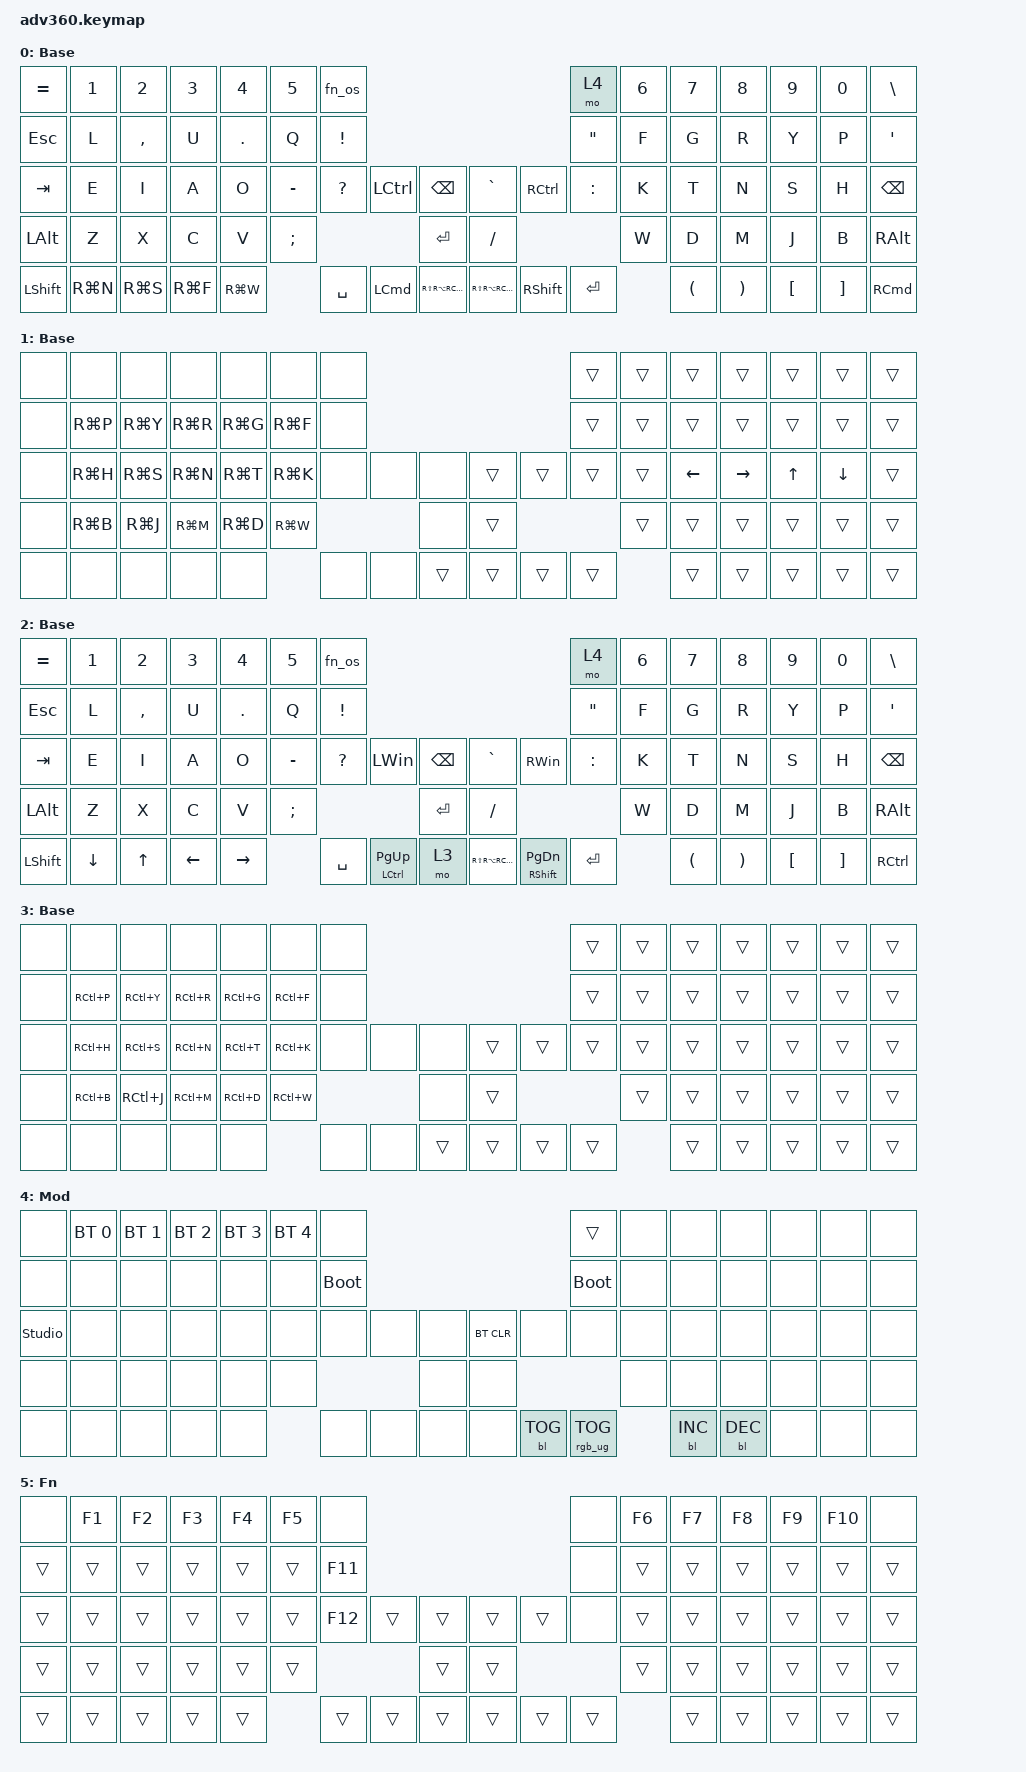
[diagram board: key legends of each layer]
#include <dt-bindings/zmk/stp.h>
#include <behaviors.dtsi>
#include <dt-bindings/zmk/backlight.h>
#include <dt-bindings/zmk/bt.h>
#include <dt-bindings/zmk/keys.h>
#include <dt-bindings/zmk/rgb.h>

/ {
    behaviors {
        #include "macros.dtsi"
      #include "version.dtsi"

        hm: homerow_mods {
            compatible = "zmk,behavior-hold-tap";
            label = "HOMEROW_MODS";
            #binding-cells = <2>;
            tapping-term-ms = <200>;
            quick_tap_ms = <175>;
            flavor = "tap-preferred";
            bindings = <&kp>, <&kp>;
        };

        t_left_mac_cmd: t_left_mac_cmd {
            compatible = "zmk,behavior-mod-morph";
            label = "T_LEFT_MAC_CMD";
            bindings = <&kp T>, <&kp LEFT_ARROW>;

            #binding-cells = <0>;
            mods = <(MOD_LGUI)>;
        };

        n_right_mac_cmd: n_right_mac_cmd {
            compatible = "zmk,behavior-mod-morph";
            label = "N_RIGHT_MAC_CMD";
            bindings = <&kp N>, <&kp RIGHT_ARROW>;

            #binding-cells = <0>;
            mods = <(MOD_LGUI)>;
        };

        s_up_mac_cmd: s_up_mac_cmd {
            compatible = "zmk,behavior-mod-morph";
            label = "S_UP_MAC_CMD";
            bindings = <&kp S>, <&kp UP_ARROW>;

            #binding-cells = <0>;
            mods = <(MOD_LGUI)>;
        };

        h_down_mac_cmd: h_down_mac_cmd {
            compatible = "zmk,behavior-mod-morph";
            label = "H_DOWN_MAC_CMD";
            bindings = <&kp H>, <&kp DOWN_ARROW>;

            #binding-cells = <0>;
            mods = <(MOD_LGUI)>;
        };

        t_left_win_ctl: t_left_win_ctl {
            compatible = "zmk,behavior-mod-morph";
            label = "T_LEFT_WIN_CTL";
            bindings = <&kp T>, <&kp LEFT_ARROW>;

            #binding-cells = <0>;
            mods = <(MOD_LCTL)>;
        };

        n_right_win_ctl: n_right_win_ctl {
            compatible = "zmk,behavior-mod-morph";
            label = "N_RIGHT_WIN_CTL";
            bindings = <&kp N>, <&kp RIGHT_ARROW>;

            #binding-cells = <0>;
            mods = <(MOD_LCTL)>;
        };

        s_up_win_ctl: s_up_win_ctl {
            compatible = "zmk,behavior-mod-morph";
            label = "S_UP_WIN_CTL";
            bindings = <&kp S>, <&kp UP_ARROW>;

            #binding-cells = <0>;
            mods = <(MOD_LCTL)>;
        };

        h_down_win_ctl: h_down_win_ctl {
            compatible = "zmk,behavior-mod-morph";
            label = "H_DOWN_WIN_CTL";
            bindings = <&kp H>, <&kp DOWN_ARROW>;

            #binding-cells = <0>;
            mods = <(MOD_LCTL)>;
        };

        fn_os: fn_os {
            compatible = "zmk,behavior-mod-morph";
            label = "FN_OS";
            bindings = <&sl 5>, <&tog 2>;

            #binding-cells = <0>;
            mods = <(MOD_RCTL|MOD_RSFT|MOD_RALT|MOD_RGUI)>;
        };

        new_hold_tap: new_hold_tap {
            compatible = "zmk,behavior-hold-tap";
            label = "NEW_HOLD_TAP";
            bindings = <&mo>, <&kp>;

            #binding-cells = <2>;
            tapping-term-ms = <200>;
            flavor = "tap-unless-interrupted";
        };
    };

    macros {
        hyper: new_macro {
            compatible = "zmk,behavior-macro";
            #binding-cells = <0>;
            bindings = <&kp LEFT_COMMAND &kp LEFT_SHIFT &kp LEFT_ALT &kp LEFT_CONTROL>;
            label = "NEW_MACRO";
        };

        parentheses: parentheses {
            compatible = "zmk,behavior-macro";
            #binding-cells = <0>;
            bindings = <&kp LEFT_PARENTHESIS &kp RIGHT_PARENTHESIS &kp LEFT_ARROW>;
            label = "PARENTHESES";
        };

        braces: curly_braces {
            compatible = "zmk,behavior-macro";
            #binding-cells = <0>;
            bindings = <&kp LEFT_BRACE &kp RIGHT_BRACE &kp LEFT_ARROW>;
            label = "CURLY_BRACES";
        };

        brackets: brackets {
            compatible = "zmk,behavior-macro";
            #binding-cells = <0>;
            bindings = <&kp LEFT_BRACKET &kp RIGHT_BRACKET &kp LEFT_ARROW>;
            label = "BRACKETS";
        };
    };

    keymap {
        compatible = "zmk,keymap";

        mac {
            display-name = "Base";
            bindings = <
&kp EQUAL       &kp N1     &kp N2     &kp N3     &kp N4      &kp N5         &fn_os                                                                                                        &mo 4              &kp N6  &kp N7                &kp N8                 &kp N9    &kp N0    &kp BSLH
&kp ESCAPE      &kp L      &kp COMMA  &kp U      &kp PERIOD  &kp Q          &kp EXCLAMATION                                                                                               &kp DOUBLE_QUOTES  &kp F   &kp G                 &kp R                  &kp Y     &kp P     &kp SQT
&kp TAB         &kp E      &kp I      &kp A      &kp O       &kp MINUS      &kp QUESTION     &kp LCTRL         &kp BACKSPACE              &kp GRAVE                      &kp RCTRL        &kp COLON          &kp K   &kp T                 &kp N                  &kp S     &kp H     &kp BACKSPACE
&kp LEFT_ALT    &kp Z      &kp X      &kp C      &kp V       &kp SEMICOLON                                     &kp ENTER                  &kp SLASH                                                          &kp W   &kp D                 &kp M                  &kp J     &kp B     &kp RIGHT_ALT
&kp LEFT_SHIFT  &kp RG(N)  &kp RG(S)  &kp RG(F)  &kp RG(W)                  &kp SPACE        &kp LEFT_COMMAND  &kp RS(RA(RC(RG(V))))      &kp RS(RA(RC(RIGHT_COMMAND)))  &kp RIGHT_SHIFT  &kp ENTER                  &kp LEFT_PARENTHESIS  &kp RIGHT_PARENTHESIS  &kp LBKT  &kp RBKT  &kp RIGHT_COMMAND
            >;
        };

        mac_reverse {
            display-name = "Base";
            bindings = <
&none  &none      &none      &none      &none      &none      &none                                     &trans  &trans  &trans          &trans           &trans        &trans          &trans
&none  &kp RG(P)  &kp RG(Y)  &kp RG(R)  &kp RG(G)  &kp RG(F)  &none                                     &trans  &trans  &trans          &trans           &trans        &trans          &trans
&none  &kp RG(H)  &kp RG(S)  &kp RG(N)  &kp RG(T)  &kp RG(K)  &none  &none  &none       &trans  &trans  &trans  &trans  &kp LEFT_ARROW  &kp RIGHT_ARROW  &kp UP_ARROW  &kp DOWN_ARROW  &trans
&none  &kp RG(B)  &kp RG(J)  &kp RG(M)  &kp RG(D)  &kp RG(W)                &none       &trans                  &trans  &trans          &trans           &trans        &trans          &trans
&none  &none      &none      &none      &none                 &none  &none  &trans      &trans  &trans  &trans          &trans          &trans           &trans        &trans          &trans
            >;
        };

        win {
            display-name = "Base";
            bindings = <
&kp EQUAL       &kp N1          &kp N2        &kp N3          &kp N4           &kp N5         &fn_os                                                                                                                  &mo 4              &kp N6  &kp N7                &kp N8                 &kp N9    &kp N0    &kp BSLH
&kp ESCAPE      &kp L           &kp COMMA     &kp U           &kp PERIOD       &kp Q          &kp EXCLAMATION                                                                                                         &kp DOUBLE_QUOTES  &kp F   &kp G                 &kp R                  &kp Y     &kp P     &kp SQT
&kp TAB         &kp E           &kp I         &kp A           &kp O            &kp MINUS      &kp QUESTION     &kp LEFT_WIN              &kp BACKSPACE      &kp GRAVE                      &kp RIGHT_WIN              &kp COLON          &kp K   &kp T                 &kp N                  &kp S     &kp H     &kp BACKSPACE
&kp LEFT_ALT    &kp Z           &kp X         &kp C           &kp V            &kp SEMICOLON                                             &kp ENTER          &kp SLASH                                                                    &kp W   &kp D                 &kp M                  &kp J     &kp B     &kp RIGHT_ALT
&kp LEFT_SHIFT  &kp DOWN_ARROW  &kp UP_ARROW  &kp LEFT_ARROW  &kp RIGHT_ARROW                 &kp SPACE        &mt LEFT_CONTROL PAGE_UP  &mo 3              &kp RS(RA(RC(RIGHT_COMMAND)))  &mt RIGHT_SHIFT PAGE_DOWN  &kp ENTER                  &kp LEFT_PARENTHESIS  &kp RIGHT_PARENTHESIS  &kp LBKT  &kp RBKT  &kp RIGHT_CONTROL
            >;
        };

        win_reverse {
            display-name = "Base";
            bindings = <
&none  &none      &none      &none      &none      &none      &none                                     &trans  &trans  &trans  &trans  &trans  &trans  &trans
&none  &kp RC(P)  &kp RC(Y)  &kp RC(R)  &kp RC(G)  &kp RC(F)  &none                                     &trans  &trans  &trans  &trans  &trans  &trans  &trans
&none  &kp RC(H)  &kp RC(S)  &kp RC(N)  &kp RC(T)  &kp RC(K)  &none  &none  &none       &trans  &trans  &trans  &trans  &trans  &trans  &trans  &trans  &trans
&none  &kp RC(B)  &kp RC(J)  &kp RC(M)  &kp RC(D)  &kp RC(W)                &none       &trans                  &trans  &trans  &trans  &trans  &trans  &trans
&none  &none      &none      &none      &none                 &none  &none  &trans      &trans  &trans  &trans          &trans  &trans  &trans  &trans  &trans
            >;
        };

        mod {
            display-name = "Mod";
            bindings = <
&none           &bt BT_SEL 0  &bt BT_SEL 1  &bt BT_SEL 2  &bt BT_SEL 3  &bt BT_SEL 4  &none                                                  &trans           &none  &none       &none       &none  &none  &none
&none           &none         &none         &none         &none         &none         &bootloader                                            &bootloader      &none  &none       &none       &none  &none  &none
&studio_unlock  &none         &none         &none         &none         &none         &none        &none  &none      &bt BT_CLR  &none       &none            &none  &none       &none       &none  &none  &none
&none           &none         &none         &none         &none         &none                             &none      &none                                    &none  &none       &none       &none  &none  &none
&none           &none         &none         &none         &none                       &none        &none  &none      &none       &bl BL_TOG  &rgb_ug RGB_TOG         &bl BL_INC  &bl BL_DEC  &none  &none  &none
            >;
        };

        fn {
            display-name = "Fn";
            bindings = <
&none   &kp F1  &kp F2  &kp F3  &kp F4  &kp F5  &none                                        &none   &kp F6  &kp F7  &kp F8  &kp F9  &kp F10  &none
&trans  &trans  &trans  &trans  &trans  &trans  &kp F11                                      &none   &trans  &trans  &trans  &trans  &trans   &trans
&trans  &trans  &trans  &trans  &trans  &trans  &kp F12  &trans  &trans      &trans  &trans  &none   &trans  &trans  &trans  &trans  &trans   &trans
&trans  &trans  &trans  &trans  &trans  &trans                   &trans      &trans                  &trans  &trans  &trans  &trans  &trans   &trans
&trans  &trans  &trans  &trans  &trans          &trans   &trans  &trans      &trans  &trans  &trans          &trans  &trans  &trans  &trans   &trans
            >;
        };
    };
};
